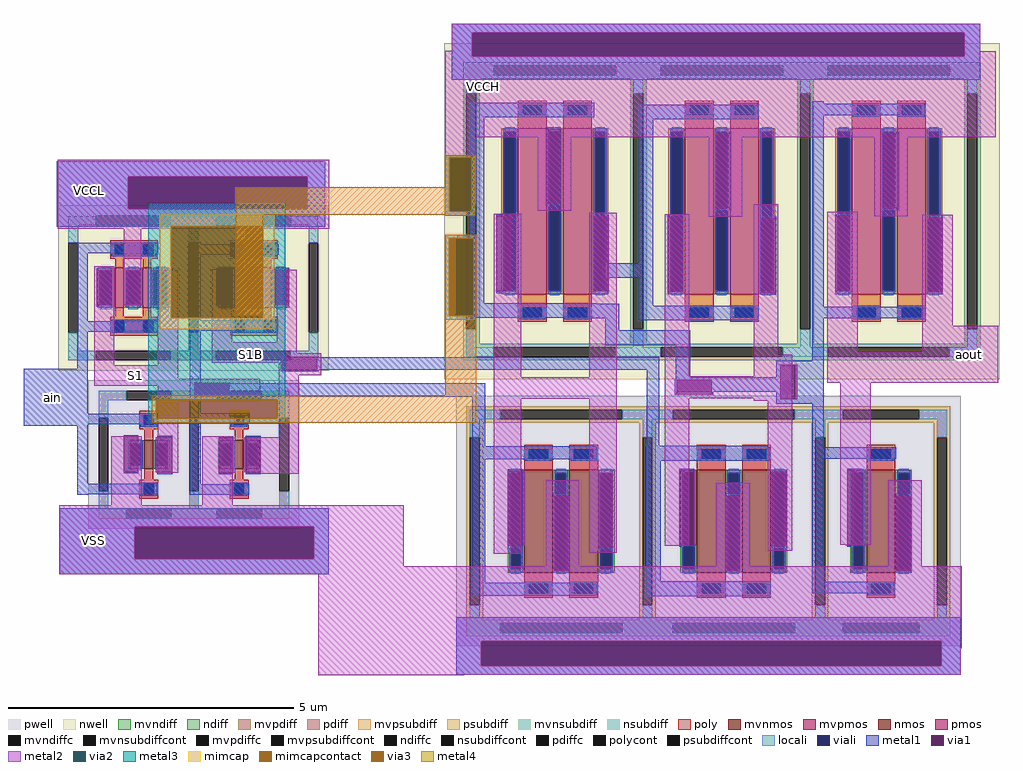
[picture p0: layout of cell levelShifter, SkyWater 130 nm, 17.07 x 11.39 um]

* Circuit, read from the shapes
.subckt levelShifter ain aout VCCL VSS VCCH
XM1 S1 ain VSS VSS sky130_fd_pr__nfet_01v8 w=0.5 l=0.15
XM2 S1B S1 VSS VSS sky130_fd_pr__nfet_01v8 w=0.5 l=0.15
XM3 VSS S1 n1 VSS sky130_fd_pr__nfet_g5v0d10v5 w=1.8 l=0.5 m=2
XM4 VSS S1B n2 VSS sky130_fd_pr__nfet_g5v0d10v5 w=1.8 l=0.5 m=2
XM5 VSS n2 aout VSS sky130_fd_pr__nfet_g5v0d10v5 w=1.8 l=0.5
XM6 VCCL ain S1 VCCL sky130_fd_pr__pfet_01v8 w=0.7 l=0.15 m=2
XM7 VCCL S1 S1B VCCL sky130_fd_pr__pfet_01v8 w=0.7 l=0.15 m=2
XM8 VCCH n2 n1 VCCH sky130_fd_pr__pfet_g5v0d10v5 w=2.9 l=0.5 m=2
XM9 VCCH n1 n2 VCCH sky130_fd_pr__pfet_g5v0d10v5 w=2.9 l=0.5 m=2
XM10 VCCH n2 aout VCCH sky130_fd_pr__pfet_g5v0d10v5 w=2.9 l=0.5 m=2
XC11 VCCH n2 sky130_fd_pr__cap_mim_m3_1 w=2 l=2
.ends

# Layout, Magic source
magic
tech sky130A
magscale 1 2
<< locali >>
rect 2107 475 3955 507
rect 2107 393 2179 475
rect 3899 393 3955 475
rect 2107 310 3955 393
rect 725 -29 1665 26
rect 725 -141 975 -29
rect 1601 -141 1665 -29
rect 725 -204 1665 -141
rect 736 -1253 1676 -1188
rect 736 -1365 998 -1253
rect 1624 -1365 1676 -1253
rect 736 -1418 1676 -1365
rect 2123 -1653 3887 -1569
rect 2123 -1738 2209 -1653
rect 3818 -1738 3887 -1653
rect 2123 -1770 3887 -1738
<< viali >>
rect 2179 393 3899 475
rect 975 -141 1601 -29
rect 998 -1365 1624 -1253
rect 2209 -1738 3818 -1653
<< metal1 >>
rect 2107 475 3955 507
rect 2107 393 2179 475
rect 3899 393 3955 475
rect 2107 310 3955 393
rect 2317 230 2603 231
rect 2169 179 2605 230
rect 3368 227 3408 235
rect 725 -29 1665 26
rect 725 -141 975 -29
rect 1601 -141 1665 -29
rect 725 -204 1665 -141
rect 797 -296 1080 -259
rect 1191 -264 1228 -258
rect 797 -534 834 -296
rect 1191 -301 1502 -264
rect 1191 -530 1228 -301
rect 2169 -471 2220 179
rect 2760 172 3178 223
rect 3368 187 3748 227
rect 2760 -331 2811 172
rect 2633 -381 2811 -331
rect 2169 -473 2611 -471
rect 2169 -522 2693 -473
rect 2557 -523 2693 -522
rect 797 -571 1080 -534
rect 1191 -567 1499 -530
rect 2643 -566 2693 -523
rect 2760 -479 2811 -381
rect 2760 -530 3180 -479
rect 3368 -483 3408 187
rect 3368 -523 3764 -483
rect 797 -699 834 -571
rect 609 -857 834 -699
rect 1191 -751 1228 -567
rect 2643 -617 2940 -566
rect 1514 -704 2833 -660
rect 1191 -797 2224 -751
rect 1191 -856 1228 -797
rect 609 -894 1079 -857
rect 1191 -893 1400 -856
rect 609 -899 834 -894
rect 797 -1102 834 -899
rect 797 -1139 1068 -1102
rect 1191 -1103 1228 -893
rect 2178 -971 2224 -797
rect 2789 -969 2833 -704
rect 2889 -730 2940 -617
rect 3368 -671 3408 -523
rect 3242 -730 3408 -671
rect 2889 -781 3408 -730
rect 3242 -823 3408 -781
rect 2178 -1017 2613 -971
rect 797 -1141 834 -1139
rect 1191 -1140 1398 -1103
rect 736 -1253 1676 -1188
rect 736 -1365 998 -1253
rect 1624 -1365 1676 -1253
rect 736 -1418 1676 -1365
rect 2178 -1448 2224 -1017
rect 2785 -1021 3212 -969
rect 3368 -975 3408 -823
rect 3368 -1015 3661 -975
rect 2785 -1443 2837 -1021
rect 2178 -1494 2615 -1448
rect 2785 -1495 3222 -1443
rect 3368 -1445 3408 -1015
rect 3368 -1485 3649 -1445
rect 2123 -1653 3887 -1569
rect 2123 -1738 2209 -1653
rect 3818 -1738 3887 -1653
rect 2123 -1770 3887 -1738
<< via1 >>
rect 2179 393 3899 475
rect 975 -141 1601 -29
rect 998 -1365 1624 -1253
rect 2209 -1738 3818 -1653
<< metal2 >>
rect 2107 475 3955 507
rect 2107 412 2179 475
rect 2083 393 2179 412
rect 3899 411 3955 475
rect 3899 393 4009 411
rect 2083 110 4009 393
rect 2083 39 2191 110
rect 728 -29 1678 31
rect 728 -141 975 -29
rect 1601 -141 1678 -29
rect 728 -210 1678 -141
rect 2083 -149 2097 39
rect 2175 -123 2191 39
rect 2175 -149 2189 -123
rect 2408 -147 2525 110
rect 2083 -165 2189 -149
rect 856 -688 927 -341
rect 959 -478 1020 -210
rect 1079 -688 1150 -354
rect 1268 -607 1339 -351
rect 1386 -478 1447 -210
rect 2125 -243 2191 -231
rect 1494 -607 1565 -353
rect 2181 -515 2191 -243
rect 2125 -529 2191 -515
rect 1268 -645 1565 -607
rect 1268 -678 1651 -645
rect 856 -735 1150 -688
rect 1501 -723 1651 -678
rect 856 -759 1437 -735
rect 1079 -814 1437 -759
rect 916 -1178 1022 -936
rect 1079 -1063 1150 -814
rect 1234 -1178 1340 -936
rect 1501 -939 1572 -723
rect 1390 -1064 1572 -939
rect 2254 -730 2350 -158
rect 2588 -730 2684 -155
rect 2254 -805 2684 -730
rect 1390 -1067 1571 -1064
rect 734 -1253 1939 -1178
rect 734 -1365 998 -1253
rect 1624 -1365 1939 -1253
rect 2254 -1346 2350 -805
rect 734 -1390 1939 -1365
rect 2435 -1390 2552 -1090
rect 2588 -1343 2684 -805
rect 2852 -726 2937 -159
rect 3005 -168 3122 110
rect 3163 -651 3248 -125
rect 3420 -641 3527 -151
rect 3584 -167 3701 110
rect 3751 -549 3858 -161
rect 3751 -641 4018 -549
rect 3163 -726 3297 -651
rect 2852 -803 3297 -726
rect 3420 -748 4018 -641
rect 2852 -1319 2937 -803
rect 3163 -811 3297 -803
rect 3032 -1390 3149 -1098
rect 3212 -1337 3297 -811
rect 3465 -1315 3572 -748
rect 3818 -749 4018 -748
rect 3633 -1390 3750 -1090
rect 734 -1419 3890 -1390
rect 1639 -1653 3890 -1419
rect 1639 -1738 2209 -1653
rect 3818 -1677 3890 -1653
rect 3818 -1738 3887 -1677
rect 1639 -1770 3887 -1738
rect 1639 -1772 2148 -1770
<< via2 >>
rect 2097 -149 2175 39
rect 2125 -515 2181 -243
<< metal3 >>
rect 2083 39 2189 47
rect 2083 -149 2097 39
rect 2175 -149 2189 39
rect 2083 -165 2189 -149
rect 2083 -243 2193 -231
rect 2083 -515 2097 -243
rect 2181 -515 2193 -243
rect 2083 -529 2193 -515
<< via3 >>
rect 2097 -149 2175 39
rect 2097 -515 2125 -243
rect 2125 -515 2181 -243
<< metal4 >>
rect 2083 39 2189 47
rect 2083 -65 2097 39
rect 1351 -149 2097 -65
rect 2175 -149 2189 39
rect 1351 -161 2189 -149
rect 1351 -515 1447 -161
rect 2083 -165 2189 -161
rect 2083 -243 2193 -231
rect 2083 -515 2097 -243
rect 2181 -515 2193 -243
rect 2083 -793 2193 -515
rect 1511 -889 2193 -793
use por_via_2cut  por_via_2cut_0
transform 0 1 8885 -1 0 15156
box 16088 -7932 16222 -7868
use por_via_2cut  por_via_2cut_1
transform 0 1 9003 -1 0 15154
box 16088 -7932 16222 -7868
use por_via_2cut  por_via_2cut_2
transform 0 1 9217 -1 0 15153
box 16088 -7932 16222 -7868
use por_via_2cut  por_via_2cut_3
transform 0 1 8893 -1 0 15738
box 16088 -7932 16222 -7868
use por_via_2cut  por_via_2cut_4
transform 0 1 8988 -1 0 15738
box 16088 -7932 16222 -7868
use por_via_2cut  por_via_2cut_5
transform 0 1 8791 -1 0 15739
box 16088 -7932 16222 -7868
use por_via_2cut  por_via_2cut_6
transform 0 1 9209 -1 0 15742
box 16088 -7932 16222 -7868
use por_via_2cut  por_via_2cut_7
transform 0 1 9316 -1 0 15741
box 16088 -7932 16222 -7868
use por_via_2cut  por_via_2cut_8
transform 0 1 9411 -1 0 15740
box 16088 -7932 16222 -7868
use por_via_2cut  por_via_2cut_9
transform 0 1 9313 -1 0 15154
box 16088 -7932 16222 -7868
use por_via_2cut  por_via_2cut_10
transform 0 1 11182 -1 0 15409
box 16088 -7932 16222 -7868
use por_via_2cut  por_via_2cut_11
transform -1 0 17422 0 -1 -8674
box 16088 -7932 16222 -7868
use por_via_2cut  por_via_2cut_12
transform -1 0 17730 0 -1 -8583
box 16088 -7932 16222 -7868
use por_via_2cut  por_via_2cut_14
transform -1 0 19109 0 -1 -8664
box 16088 -7932 16222 -7868
use por_via_4cut  por_via_4cut_0
transform 0 1 10362 -1 0 16093
box 15948 -7932 16222 -7868
use por_via_4cut  por_via_4cut_1
transform 0 1 10046 -1 0 15706
box 15948 -7932 16222 -7868
use por_via_4cut  por_via_4cut_2
transform 0 1 10530 -1 0 15787
box 15948 -7932 16222 -7868
use por_via_4cut  por_via_4cut_3
transform 0 1 10958 -1 0 16077
box 15948 -7932 16222 -7868
use por_via_4cut  por_via_4cut_4
transform 0 1 11545 -1 0 16077
box 15948 -7932 16222 -7868
use por_via_4cut  por_via_4cut_5
transform 0 1 11373 -1 0 15789
box 15948 -7932 16222 -7868
use por_via_4cut  por_via_4cut_6
transform 0 1 10788 -1 0 15785
box 15948 -7932 16222 -7868
use por_via_4cut  por_via_4cut_7
transform 0 1 11115 -1 0 15781
box 15948 -7932 16222 -7868
use por_via_4cut  por_via_4cut_8
transform 0 1 10391 -1 0 14810
box 15948 -7932 16222 -7868
use por_via_4cut  por_via_4cut_9
transform 0 1 11698 -1 0 15783
box 15948 -7932 16222 -7868
use por_via_4cut  por_via_4cut_10
transform 0 1 10229 -1 0 14897
box 15948 -7932 16222 -7868
use por_via_4cut  por_via_4cut_11
transform 0 1 10990 -1 0 14810
box 15948 -7932 16222 -7868
use por_via_4cut  por_via_4cut_12
transform 0 1 11587 -1 0 14808
box 15948 -7932 16222 -7868
use por_via_4cut  por_via_4cut_13
transform 0 1 11415 -1 0 14899
box 15948 -7932 16222 -7868
use por_via_4cut  por_via_4cut_14
transform 0 1 11152 -1 0 14895
box 15948 -7932 16222 -7868
use por_via_4cut  por_via_4cut_15
transform 0 1 10828 -1 0 14899
box 15948 -7932 16222 -7868
use por_via_4cut  por_via_4cut_16
transform 0 1 10543 -1 0 14891
box 15948 -7932 16222 -7868
use por_via_4cut  por_via_4cut_17
transform 0 1 10188 -1 0 15787
box 15948 -7932 16222 -7868
use sky130_fd_pr__cap_mim_m3_1_FJFAMD  sky130_fd_pr__cap_mim_m3_1_FJFAMD_0 paramcells
transform 0 1 1285 -1 0 -507
box -386 -240 386 240
use sky130_fd_pr__nfet_g5v0d10v5_WSE8X6  sky130_fd_pr__nfet_g5v0d10v5_WSE8X6_0 paramcells
transform 1 0 3093 0 1 -1233
box -367 -438 367 438
use sky130_fd_pr__pfet_01v8_X6X8XQ  XM1 paramcells
transform 1 0 993 0 1 -417
box -263 -289 263 289
use sky130_fd_pr__pfet_g5v0d10v5_PHU9Y6  XM2 paramcells
transform 1 0 2467 0 1 -149
box -387 -587 387 587
use sky130_fd_pr__nfet_01v8_L9ESAD  XM4 paramcells
transform 1 0 1363 0 1 -1000
box -211 -260 211 260
use sky130_fd_pr__pfet_01v8_X6X8XQ  XM5
transform 1 0 1413 0 1 -417
box -263 -289 263 289
use sky130_fd_pr__nfet_01v8_L9ESAD  XM6
transform 1 0 1047 0 1 -1000
box -211 -260 211 260
use sky130_fd_pr__nfet_g5v0d10v5_N5F8XL  XM7 paramcells
transform 1 0 3608 0 1 -1233
box -278 -438 278 438
use sky130_fd_pr__pfet_g5v0d10v5_PHU9Y6  XM8
transform 1 0 3635 0 1 -149
box -387 -587 387 587
use sky130_fd_pr__nfet_g5v0d10v5_WSE8X6  XM12
transform 1 0 2489 0 1 -1233
box -367 -438 367 438
use sky130_fd_pr__pfet_g5v0d10v5_PHU9Y6  XM13
transform 1 0 3051 0 1 -149
box -387 -587 387 587
<< labels >>
flabel metal1 609 -899 809 -699 0 FreeSans 256 0 0 0 ain
port 0 nsew
flabel metal2 740 -177 940 23 0 FreeSans 256 0 0 0 VCCL
port 2 nsew
flabel metal2 754 -1402 954 -1202 0 FreeSans 256 0 0 0 VSS
port 3 nsew
flabel metal2 1001 -724 1001 -724 0 FreeSans 400 0 0 0 S1
flabel metal2 1404 -650 1404 -650 0 FreeSans 400 0 0 0 S1B
flabel metal2 2117 186 2317 386 0 FreeSans 256 0 0 0 VCCH
port 4 nsew
flabel metal2 3818 -749 4018 -549 0 FreeSans 256 0 0 0 aout
port 1 nsew
<< end >>

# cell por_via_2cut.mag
magic
tech sky130A
<< metal1 >>
rect 8044 -3963 8047 -3937
rect 8108 -3963 8111 -3937
<< via1 >>
rect 8047 -3963 8108 -3937
<< metal2 >>
rect 8047 -3937 8108 -3934
rect 8047 -3966 8108 -3963
<< end >>

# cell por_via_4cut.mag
magic
tech sky130A
<< metal1 >>
rect 7974 -3963 7977 -3937
rect 8108 -3963 8111 -3937
<< via1 >>
rect 7977 -3963 8108 -3937
<< metal2 >>
rect 7977 -3937 8108 -3934
rect 7977 -3966 8108 -3963
<< end >>

# cell sky130_fd_pr__cap_mim_m3_1_FJFAMD: kit device sky130_fd_pr__cap_mim_m3_1, w 2.00 l 2.00 val 9.52 carea 2.00 cperi 0.19 nx 1 ny 1 dummy 0 square 0 lmin 2.00 wmin 2.00 lmax 30.0 wmax 30.0 dc 0 bconnect 1 tconnect 1 ccov 100

# cell sky130_fd_pr__nfet_g5v0d10v5_WSE8X6: kit device sky130_fd_pr__nfet_g5v0d10v5, w 1.8 l 0.5 m 1 nf 2 diffcov 100 polycov 100 guard 1 glc 1 grc 1 gtc 1 gbc 1 tbcov 100 rlcov 100 topc 1 botc 1 poverlap 0 doverlap 1 lmin 0.50 wmin 0.42 compatible {sky130_fd_pr__nfet_01v8 sky130_fd_pr__nfet_01v8_lvt sky130_fd_bs_flash__special_sonosfet_star sky130_fd_pr__nfet_g5v0d10v5 sky130_fd_pr__nfet_05v0_nvt sky130_fd_pr__nfet_03v3_nvt} full_metal 1 viasrc 100 viadrn 100 viagate 100 viagb 0 viagr 0 viagl 0 viagt 0

# cell sky130_fd_pr__pfet_01v8_X6X8XQ: kit device sky130_fd_pr__pfet_01v8, w 0.7 l 0.15 m 1 nf 2 diffcov 100 polycov 100 guard 1 glc 1 grc 1 gtc 1 gbc 1 tbcov 100 rlcov 100 topc 1 botc 1 poverlap 0 doverlap 1 lmin 0.15 wmin 0.42 compatible {sky130_fd_pr__pfet_01v8 sky130_fd_pr__pfet_01v8_lvt sky130_fd_pr__pfet_01v8_hvt sky130_fd_pr__pfet_g5v0d10v5} full_metal 1 viasrc 100 viadrn 100 viagate 100 viagb 0 viagr 0 viagl 0 viagt 0

# cell sky130_fd_pr__pfet_g5v0d10v5_PHU9Y6: kit device sky130_fd_pr__pfet_g5v0d10v5, w 2.9 l 0.5 m 1 nf 2 diffcov 100 polycov 100 guard 1 glc 1 grc 1 gtc 1 gbc 1 tbcov 100 rlcov 100 topc 1 botc 1 poverlap 0 doverlap 1 lmin 0.50 wmin 0.42 compatible {sky130_fd_pr__pfet_01v8 sky130_fd_pr__pfet_01v8_lvt sky130_fd_pr__pfet_01v8_hvt sky130_fd_pr__pfet_g5v0d10v5} full_metal 1 viasrc 100 viadrn 100 viagate 100 viagb 0 viagr 0 viagl 0 viagt 0

# cell sky130_fd_pr__nfet_01v8_L9ESAD: kit device sky130_fd_pr__nfet_01v8, w 0.5 l 0.15 m 1 nf 1 diffcov 100 polycov 100 guard 1 glc 1 grc 1 gtc 1 gbc 1 tbcov 100 rlcov 100 topc 1 botc 1 poverlap 0 doverlap 1 lmin 0.15 wmin 0.42 compatible {sky130_fd_pr__nfet_01v8 sky130_fd_pr__nfet_01v8_lvt sky130_fd_bs_flash__special_sonosfet_star sky130_fd_pr__nfet_g5v0d10v5 sky130_fd_pr__nfet_05v0_nvt sky130_fd_pr__nfet_03v3_nvt} full_metal 1 viasrc 100 viadrn 100 viagate 100 viagb 0 viagr 0 viagl 0 viagt 0

# cell sky130_fd_pr__nfet_g5v0d10v5_N5F8XL: kit device sky130_fd_pr__nfet_g5v0d10v5, w 1.8 l 0.5 m 1 nf 1 diffcov 100 polycov 100 guard 1 glc 1 grc 1 gtc 1 gbc 1 tbcov 100 rlcov 100 topc 1 botc 1 poverlap 0 doverlap 1 lmin 0.50 wmin 0.42 compatible {sky130_fd_pr__nfet_01v8 sky130_fd_pr__nfet_01v8_lvt sky130_fd_bs_flash__special_sonosfet_star sky130_fd_pr__nfet_g5v0d10v5 sky130_fd_pr__nfet_05v0_nvt sky130_fd_pr__nfet_03v3_nvt} full_metal 1 viasrc 100 viadrn 100 viagate 100 viagb 0 viagr 0 viagl 0 viagt 0
